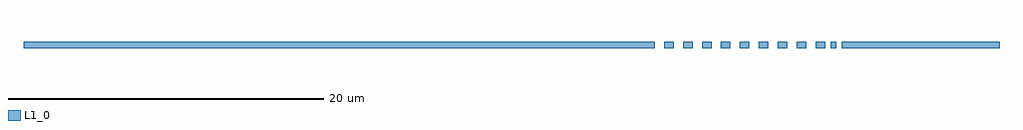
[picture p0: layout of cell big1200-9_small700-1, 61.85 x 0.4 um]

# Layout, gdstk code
import gdstk
lib = gdstk.Library(unit=1e-6, precision=1e-09)
def R(c, l, rs):  # rectangles x0, y0, x1, y1
    for r in rs: c.add(gdstk.rectangle(r[:2], r[2:], *l))
def A(c, l, x, y, w, h, nx, ny, dx, dy):  # array of equal rectangles
    R(c, l, [(x+i*dx, y+j*dy, x+i*dx+w, y+j*dy+h) for i in range(nx) for j in range(ny)])
L1_0 = (1, 0)

big1200_9_small700_1 = lib.new_cell('big1200-9_small700-1')
A(big1200_9_small700_1, L1_0, 0.6, 0, 0.6, 0.4, 9, 1, 1.2, 0)
R(big1200_9_small700_1, L1_0, [(-40,0,0,0.4), (11.15,0,11.5,0.4), (11.85,0,21.85,0.4)])

lib.write_gds('big1200-9_small700-1.gds')
